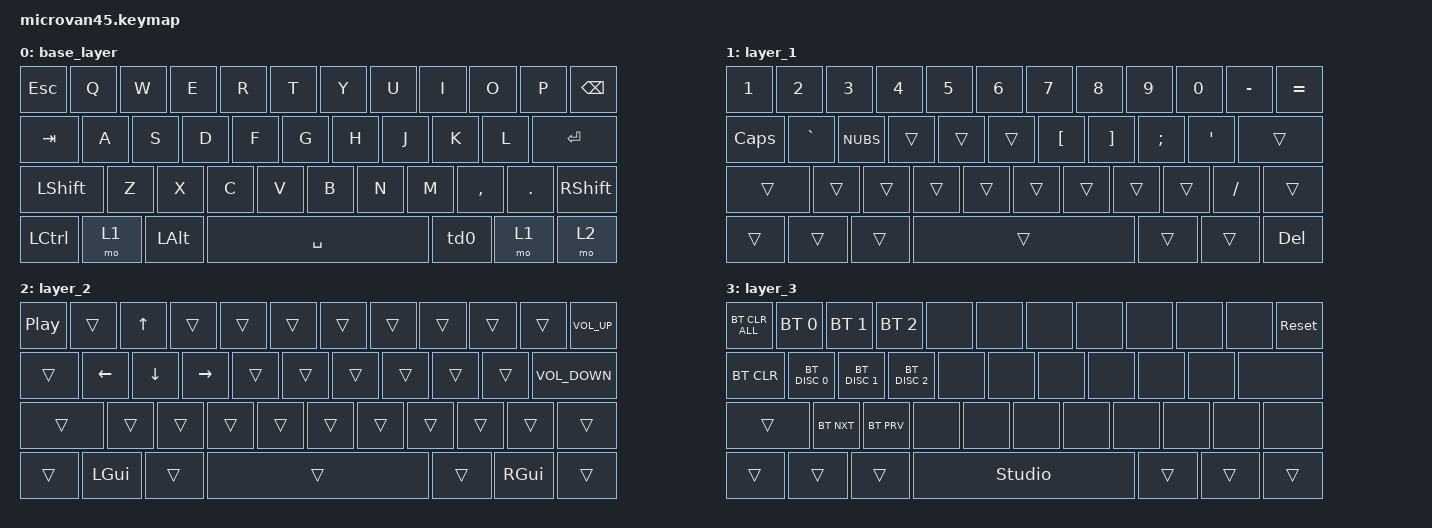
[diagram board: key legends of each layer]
#include <behaviors.dtsi>
#include <dt-bindings/zmk/keys.h>
#include <dt-bindings/zmk/bt.h>


/ {
behaviors {
        td0: tap_dance_0 {
            compatible = "zmk,behavior-tap-dance";
            #binding-cells = <0>;
            tapping-term-ms = <200>;
            bindings = <&kp RALT>, <&mo 3>;
        };
    };
   
    keymap {
        compatible = "zmk,keymap";
            
        base_layer {
            display-name = "base_layer";
            bindings = < 
                &kp ESC     &kp Q     &kp W     &kp E     &kp R     &kp T     &kp Y     &kp U     &kp I     &kp O     &kp P             &kp BACKSPACE
                &kp TAB     &kp A     &kp S     &kp D     &kp F     &kp G     &kp H     &kp J     &kp K     &kp L                       &kp RET
                &kp LSHIFT     &kp Z     &kp X     &kp C     &kp V     &kp B     &kp N     &kp M     &kp COMMA     &kp PERIOD           &kp RSHIFT
                &kp LCTRL      &mo 1     &kp LALT                &kp SPACE                                        &td0      &mo 1      &mo 2
            >;
        }; 
        
        layer_1 {
            display-name = "layer_1";
            bindings = <
                &kp N1     &kp N2     &kp N3     &kp N4     &kp N5     &kp N6     &kp N7     &kp N8     &kp N9     &kp N0     &kp MINUS       &kp EQUAL
                &kp CAPS   &kp GRAVE  &kp NUBS   &trans     &trans     &trans     &kp LEFT_BRACKET      &kp RIGHT_BRACKET   &kp SEMICOLON   &kp SINGLE_QUOTE  &trans
                &trans        &trans     &trans     &trans     &trans     &trans     &trans     &trans     &trans     &kp SLASH     &trans
                &trans        &trans     &trans                  &trans                                      &trans     &trans      &kp DELETE
            >;
        };  
        
        layer_2 {
            display-name = "layer_2";
            bindings = <
                &kp C_PLAY_PAUSE     &trans     &kp UP_ARROW     &trans     &trans     &trans     &trans     &trans     &trans     &trans     &trans     &kp C_VOLUME_UP
                &trans     &kp LEFT_ARROW     &kp DOWN_ARROW     &kp RIGHT_ARROW       &trans     &trans     &trans     &trans     &trans     &trans     &kp C_VOLUME_DOWN
                &trans        &trans         &trans          &trans         &trans     &trans     &trans     &trans     &trans     &trans     &trans
                &trans        &kp LEFT_GUI     &trans                  &trans                                      &trans     &kp RIGHT_GUI     &trans
            >;
        };

        layer_3 {
            display-name = "layer_3";
            bindings = <
                &bt BT_CLR_ALL    &bt BT_SEL 0     &bt BT_SEL 1     &bt BT_SEL 2     &none     &none     &none     &none     &none     &none     &none     &sys_reset
                &bt BT_CLR      &bt BT_DISC 0    &bt BT_DISC 1    &bt BT_DISC 2    &none     &none     &none     &none     &none     &none       &none
                &trans         &bt BT_NXT       &bt BT_PRV       &none     &none     &none     &none     &none     &none     &none     &none
                &trans        &trans     &trans                        &studio_unlock                               &trans     &trans      &trans
            >;
        };

        extra_layer_4 {
            status = "reserved";
        };
        
        extra_layer_5 {
            status = "reserved";
        };

    };
};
